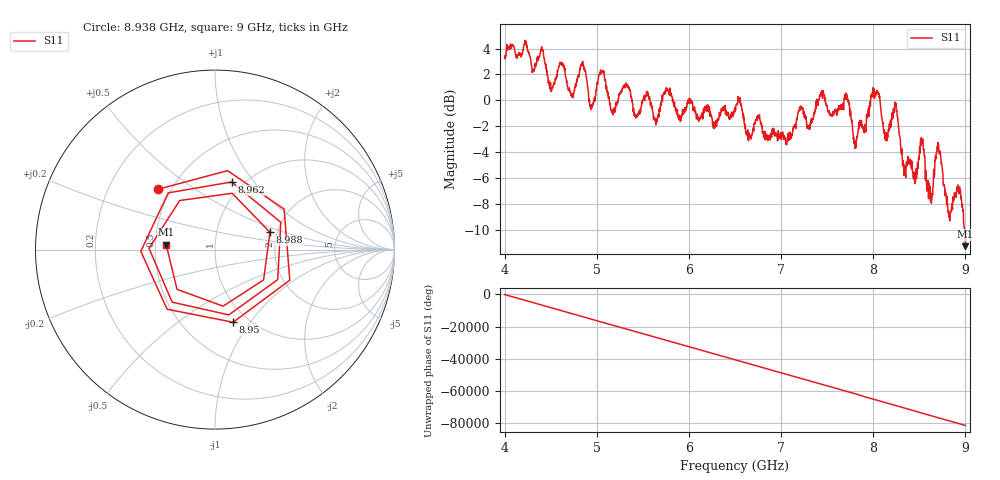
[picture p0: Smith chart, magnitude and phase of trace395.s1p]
! Created with skrf 1.8.0 (http://scikit-rf.org).
# Hz S RI R 50.0
!freq ReS11 ImS11
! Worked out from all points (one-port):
!   1601 points, 4 GHz to 9 GHz, reference 50 ohm
!   lowest |S11| = -11.3 dB at 9 GHz (marker M1), VSWR 1.75, Z = 28.6 + j1.69 ohm
!   |S11| at or under -10 dB: 8.99452 GHz to end of sweep
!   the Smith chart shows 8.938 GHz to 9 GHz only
!   S11 on the Smith chart (normalised r, x): 8.938 GHz: 0.42, +0.36; 8.95 GHz: 0.85, -0.83; 8.962 GHz: 0.88, +0.78; 8.988 GHz: 1.83, +0.39; 9 GHz: 0.57, +0.03
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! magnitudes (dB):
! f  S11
! 4 GHz  3.4
! 4.506 GHz  0.8
! 4.625 GHz  2.9
! 4.731 GHz  0.3
! 4.853 GHz  2.6
! 4.941 GHz  -0.5
! 5.053 GHz  2.2
! 5.172 GHz  -0.8
! 5.25 GHz  0.5
! 5.875 GHz  -0.7
! 6.5 GHz  -0.9
! 7.125 GHz  -2.5
! 7.444 GHz  0.6
! 7.75 GHz  -1.2
! 7.809 GHz  -3.3
! 8 GHz  1.0
! 8.134 GHz  -2.9
! 8.244 GHz  -0.5
! 8.375 GHz  -4.5
! 8.528 GHz  -3.1
! 8.625 GHz  -7.2
! 8.706 GHz  -3.4
! 8.822 GHz  -9.0
! 8.938 GHz  -6.7
! 8.95 GHz  -7.6
! 8.962 GHz  -8.2
! 8.988 GHz  -9.9
! 9 GHz  -11.3
